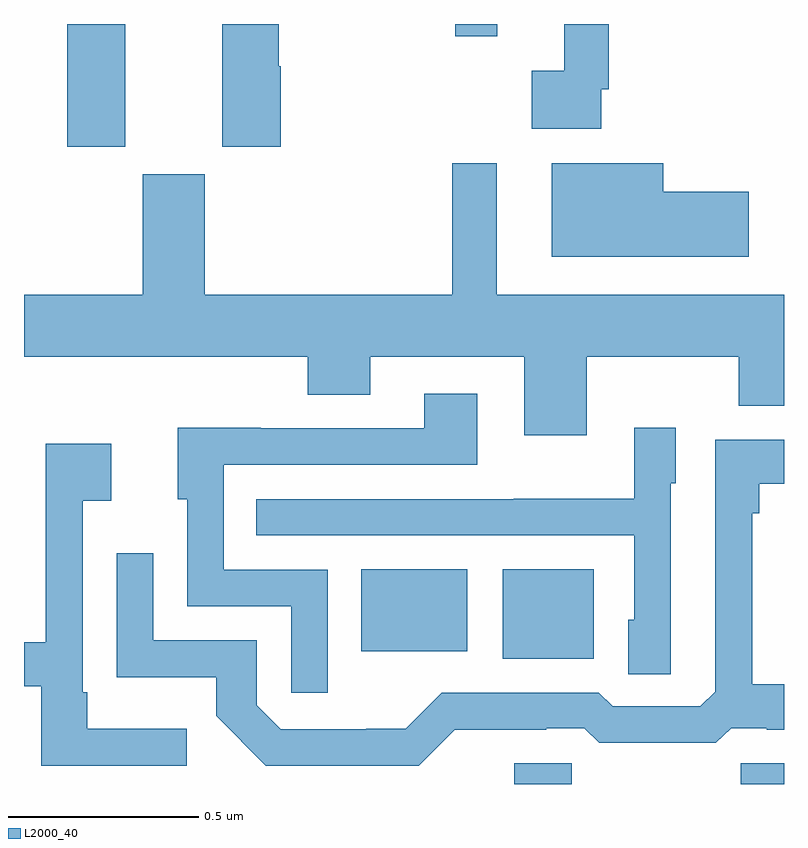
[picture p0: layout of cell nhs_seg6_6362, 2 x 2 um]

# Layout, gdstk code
import gdstk
lib = gdstk.Library(unit=1e-6, precision=1e-09)
def R(c, l, rs):  # rectangles x0, y0, x1, y1
    for r in rs: c.add(gdstk.rectangle(r[:2], r[2:], *l))
def P(c, l, *ps):  # polygons
    for p in ps: c.add(gdstk.Polygon(p, *l))
L2000_40 = (2000, 40)

nhs_seg6_6362 = lib.new_cell('nhs_seg6_6362')
R(nhs_seg6_6362, L2000_40, [(195.29,991.5,195.441,991.554), (195.886,991.5,196,991.554), (195.26,991.829,195.499,992.065), (194.888,991.85,195.166,992.065), (194.114,993.177,194.266,993.5), (195.135,993.468,195.245,993.5)])
P(nhs_seg6_6362, L2000_40, [(194.675,993.389),(194.67,993.389),(194.67,993.5),(194.522,993.5),(194.522,993.177),(194.675,993.177)],
  [(195.519,993.328),(195.539,993.328),(195.539,993.5),(195.422,993.5),(195.422,993.377),(195.336,993.377),(195.336,993.224),(195.519,993.224)],
  [(194.476,993.105),(194.312,993.105),(194.312,992.788),(194,992.788),(194,992.624),(194.747,992.624),(194.747,992.525),(194.911,992.525),(194.911,992.624),(195.317,992.624),(195.317,992.418),(195.481,992.418),(195.481,992.624),(195.881,992.624),(195.881,992.496),(196,992.496),(196,992.788),(195.244,992.788),(195.244,993.133),(195.127,993.133),(195.127,992.788),(194.476,992.788)],
  [(195.907,993.059),(195.682,993.059),(195.682,993.133),(195.389,993.133),(195.389,992.888),(195.907,992.888)],
  [(194.799,992.064),(194.526,992.064),(194.526,992.34),(195.193,992.34),(195.193,992.527),(195.053,992.527),(195.053,992.436),(194.623,992.436),(194.623,992.438),(194.405,992.438),(194.405,992.25),(194.43,992.25),(194.43,991.968),(194.703,991.968),(194.703,991.74),(194.799,991.74)],
  [(195.702,992.292),(195.715,992.292),(195.715,992.437),(195.606,992.437),(195.606,992.251),(195.289,992.251),(195.289,992.25),(194.611,992.25),(194.611,992.154),(195.606,992.154),(195.606,991.932),(195.59,991.932),(195.59,991.789),(195.702,991.789)],
  [(195.134,991.643),(195.374,991.643),(195.374,991.647),(195.474,991.647),(195.514,991.608),(195.821,991.608),(195.861,991.647),(195.955,991.647),(195.955,991.643),(196,991.643),(196,991.763),(195.917,991.763),(195.917,992.213),(195.935,992.213),(195.935,992.29),(196,992.29),(196,992.406),(195.819,992.406),(195.819,991.743),(195.78,991.704),(195.549,991.704),(195.513,991.74),(195.099,991.74),(195.005,991.646),(194.9,991.646),(194.9,991.644),(194.676,991.644),(194.613,991.707),(194.613,991.878),(194.34,991.878),(194.34,992.107),(194.244,992.107),(194.244,991.781),(194.506,991.781),(194.506,991.679),(194.636,991.548),(195.039,991.548)],
  [(194.428,991.645),(194.167,991.645),(194.167,991.741),(194.154,991.741),(194.154,992.246),(194.23,992.246),(194.23,992.395),(194.057,992.395),(194.057,991.873),(194,991.873),(194,991.757),(194.046,991.757),(194.046,991.548),(194.428,991.548)])

lib.write_gds('nhs_seg6_6362.gds')
